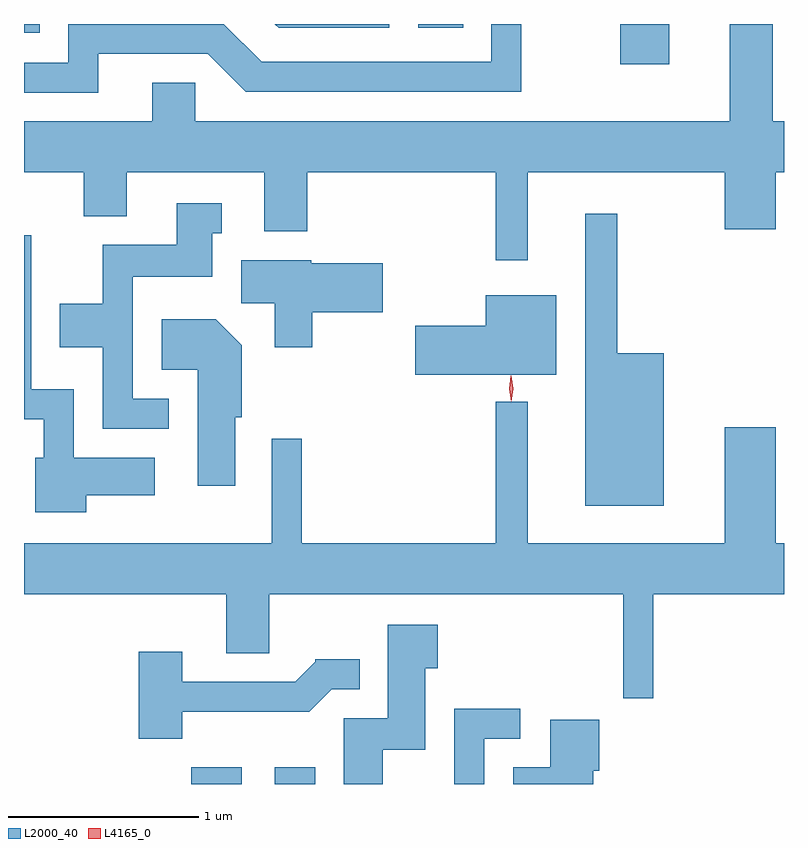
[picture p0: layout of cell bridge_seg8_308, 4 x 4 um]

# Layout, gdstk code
import gdstk
lib = gdstk.Library(unit=1e-6, precision=1e-09)
def R(c, l, rs):  # rectangles x0, y0, x1, y1
    for r in rs: c.add(gdstk.rectangle(r[:2], r[2:], *l))
def P(c, l, *ps):  # polygons
    for p in ps: c.add(gdstk.Polygon(p, *l))
L2000_40 = (2000, 40)
L4165_0 = (4165, 0)

bridge_seg8_308 = lib.new_cell('bridge_seg8_308')
R(bridge_seg8_308, L2000_40, [(991.486,1939.757,991.754,1939.844), (991.926,1939.757,992.139,1939.844), (993.746,1943.546,994.004,1943.757), (990.607,1943.711,990.689,1943.757), (992.681,1943.736,992.918,1943.757)])
P(bridge_seg8_308, L2000_40, [(993.259,1942.976),(994.296,1942.976),(994.296,1942.676),(994.564,1942.676),(994.564,1942.976),(994.607,1942.976),(994.607,1943.244),(994.549,1943.244),(994.549,1943.757),(994.321,1943.757),(994.321,1943.244),(991.509,1943.244),(991.509,1943.449),(991.281,1943.449),(991.281,1943.244),(990.607,1943.244),(990.607,1942.976),(990.921,1942.976),(990.921,1942.746),(991.149,1942.746),(991.149,1942.976),(991.871,1942.976),(991.871,1942.666),(992.099,1942.666),(992.099,1942.976),(993.091,1942.976),(993.091,1942.513),(993.259,1942.513)],
  [(992.529,1943.757),(991.928,1943.757),(991.949,1943.736),(992.529,1943.736)],
  [(990.999,1943.601),(991.574,1943.601),(991.774,1943.401),(993.224,1943.401),(993.224,1943.757),(993.066,1943.757),(993.066,1943.559),(991.857,1943.559),(991.659,1943.757),(990.841,1943.757),(990.841,1943.554),(990.607,1943.554),(990.607,1943.396),(990.999,1943.396)],
  [(991.368,1941.784),(991.179,1941.784),(991.179,1942.426),(991.599,1942.426),(991.599,1942.656),(991.648,1942.656),(991.648,1942.814),(991.411,1942.814),(991.411,1942.594),(991.021,1942.594),(991.021,1942.284),(990.796,1942.284),(990.796,1942.056),(991.021,1942.056),(991.021,1941.626),(991.368,1941.626)],
  [(993.974,1942.024),(993.729,1942.024),(993.729,1942.758),(993.561,1942.758),(993.561,1941.221),(993.974,1941.221)],
  [(990.934,1941.276),(991.294,1941.276),(991.294,1941.474),(990.869,1941.474),(990.869,1941.834),(990.644,1941.834),(990.644,1942.644),(990.607,1942.644),(990.607,1941.676),(990.711,1941.676),(990.711,1941.474),(990.666,1941.474),(990.666,1941.186),(990.934,1941.186)],
  [(992.124,1942.241),(992.494,1942.241),(992.494,1942.499),(992.12,1942.499),(992.12,1942.514),(991.751,1942.514),(991.751,1942.286),(991.926,1942.286),(991.926,1942.056),(992.124,1942.056)],
  [(993.409,1942.329),(993.036,1942.329),(993.036,1942.169),(992.666,1942.169),(992.666,1941.911),(993.409,1941.911)],
  [(991.719,1941.686),(991.754,1941.686),(991.754,1942.067),(991.617,1942.204),(991.331,1942.204),(991.331,1941.936),(991.521,1941.936),(991.521,1941.326),(991.719,1941.326)],
  [(993.919,1940.756),(994.607,1940.756),(994.607,1941.024),(994.564,1941.024),(994.564,1941.634),(994.296,1941.634),(994.296,1941.024),(993.259,1941.024),(993.259,1941.768),(993.091,1941.768),(993.091,1941.024),(992.069,1941.024),(992.069,1941.573),(991.911,1941.573),(991.911,1941.024),(990.607,1941.024),(990.607,1940.756),(991.671,1940.756),(991.671,1940.446),(991.899,1940.446),(991.899,1940.756),(993.761,1940.756),(993.761,1940.208),(993.919,1940.208)],
  [(992.494,1939.936),(992.719,1939.936),(992.719,1940.366),(992.784,1940.366),(992.784,1940.594),(992.521,1940.594),(992.521,1940.104),(992.291,1940.104),(992.291,1939.757),(992.494,1939.757)],
  [(991.439,1940.136),(992.107,1940.136),(992.227,1940.256),(992.373,1940.256),(992.373,1940.414),(992.14,1940.414),(992.14,1940.401),(992.034,1940.294),(991.439,1940.294),(991.439,1940.454),(991.211,1940.454),(991.211,1939.996),(991.439,1939.996)],
  [(993.029,1939.996),(993.218,1939.996),(993.218,1940.154),(992.871,1940.154),(992.871,1939.757),(993.029,1939.757)],
  [(993.604,1939.826),(993.634,1939.826),(993.634,1940.094),(993.376,1940.094),(993.376,1939.844),(993.181,1939.844),(993.181,1939.757),(993.604,1939.757)])
P(bridge_seg8_308, L4165_0, [(993.171,1941.77),(993.161,1941.838),(993.17,1941.905),(993.171,1941.906),(993.171,1941.905),(993.181,1941.838),(993.172,1941.77),(993.172,1941.77)],
  [(993.172,1941.773),(993.171,1941.774),(993.162,1941.837),(993.171,1941.899),(993.172,1941.9),(993.172,1941.899),(993.182,1941.837),(993.172,1941.774)])

lib.write_gds('bridge_seg8_308.gds')
